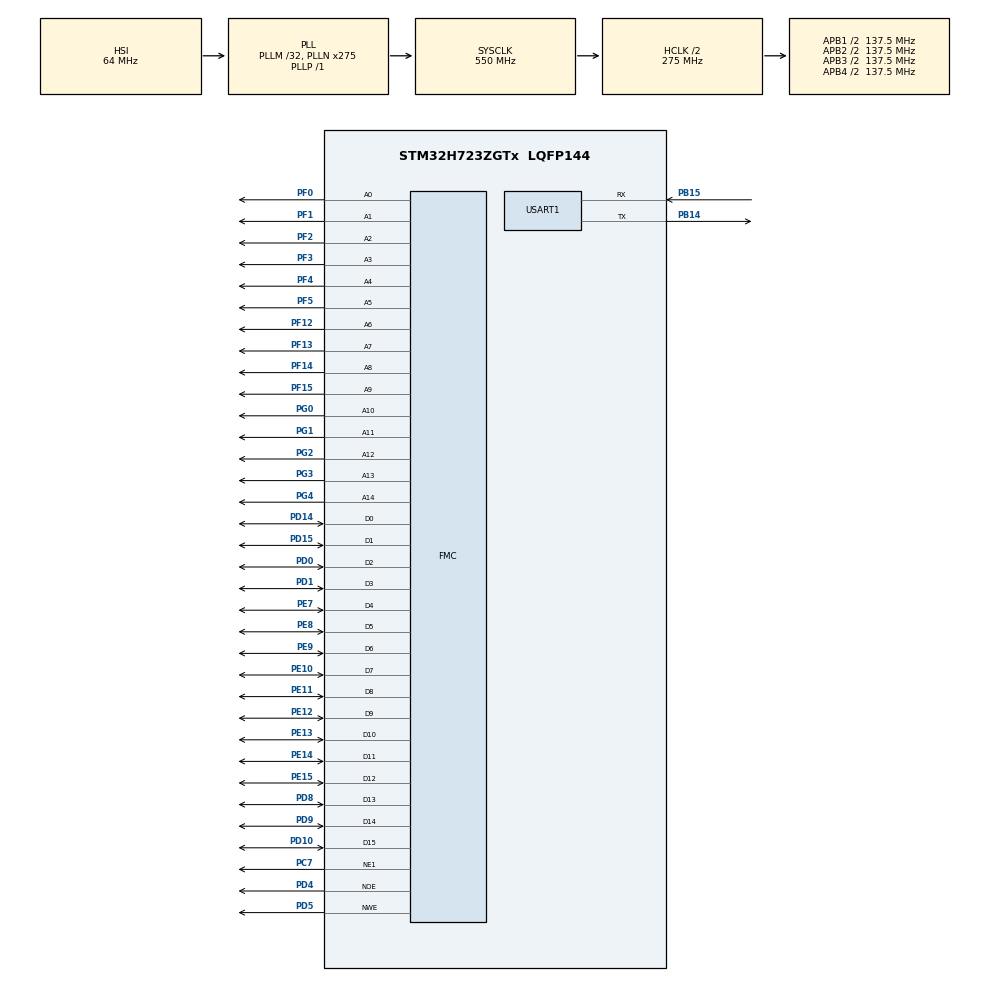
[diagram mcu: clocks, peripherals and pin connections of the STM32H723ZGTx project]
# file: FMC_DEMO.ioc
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CORTEX_M7.AccessPermission_Spec=MPU_REGION_FULL_ACCESS
CORTEX_M7.BaseAddress_Spec=0x60000000
CORTEX_M7.CPU_DCache=Enabled
CORTEX_M7.CPU_ICache=Enabled
CORTEX_M7.MPU_Control=MPU_HFNMI_PRIVDEF
CORTEX_M7.Size_Spec=MPU_REGION_SIZE_256MB
CORTEX_M7.default_mode_Activation=1
FMC.AddressSetupTime1=4
FMC.BusTurnAroundDuration1=2
FMC.DataSetupTime1=3
FMC.WriteFifo1=FMC_WRITE_FIFO_DISABLE
FMC.WriteOperation1=FMC_WRITE_OPERATION_ENABLE
Mcu.Family=STM32H7
Mcu.Name=STM32H723ZGTx
Mcu.Package=LQFP144
Mdma.MDMA_Channel0.Request0=SW
Mdma.MDMA_Channel0.RequestsNb=1
Mdma.MDMA_Channel0.SW.0.BlockCount=0
Mdma.MDMA_Channel0.SW.0.BlockDataLength=0
Mdma.MDMA_Channel0.SW.0.BufferTransferLength=128
Mdma.MDMA_Channel0.SW.0.CircularMode=MDMA_LINEAR_LIST
Mdma.MDMA_Channel0.SW.0.DataAlignment=MDMA_DATAALIGN_PACKENABLE
Mdma.MDMA_Channel0.SW.0.DestBlockAddressOffset=0
Mdma.MDMA_Channel0.SW.0.DestBurst=MDMA_DEST_BURST_8BEATS
Mdma.MDMA_Channel0.SW.0.DestDataSize=MDMA_DEST_DATASIZE_HALFWORD
Mdma.MDMA_Channel0.SW.0.DestinationInc=MDMA_DEST_INC_HALFWORD
Mdma.MDMA_Channel0.SW.0.DstAddress=0
Mdma.MDMA_Channel0.SW.0.Endianness=MDMA_LITTLE_ENDIANNESS_PRESERVE
Mdma.MDMA_Channel0.SW.0.Instance=MDMA_Channel0
Mdma.MDMA_Channel0.SW.0.MaskAddress=0
Mdma.MDMA_Channel0.SW.0.MaskData=0
Mdma.MDMA_Channel0.SW.0.Priority=MDMA_PRIORITY_HIGH
Mdma.MDMA_Channel0.SW.0.Rank=First
Mdma.MDMA_Channel0.SW.0.SourceBlockAddressOffset=0
Mdma.MDMA_Channel0.SW.0.SourceBurst=MDMA_SOURCE_BURST_8BEATS
Mdma.MDMA_Channel0.SW.0.SourceDataSize=MDMA_SRC_DATASIZE_HALFWORD
Mdma.MDMA_Channel0.SW.0.SourceInc=MDMA_SRC_INC_HALFWORD
Mdma.MDMA_Channel0.SW.0.SrcAddress=0
Mdma.MDMA_Channel0.SW.0.TransferTriggerMode=MDMA_BLOCK_TRANSFER
Mdma.RequestSet0=MDMA_Channel0
Mdma.RequestSetsNb=1
NVIC.MDMA_IRQn=true\:0\:0\:false\:false\:true\:false\:true\:true
NVIC.PriorityGroup=NVIC_PRIORITYGROUP_4
NVIC.USART1_IRQn=true\:0\:0\:false\:false\:true\:true\:true\:true
PB14.Mode=Asynchronous
PB14.Signal=USART1_TX
PB15.Mode=Asynchronous
PB15.Signal=USART1_RX
PC7.Mode=NorPsramChipSelect1_1
PC7.Signal=FMC_NE1
PD0.Signal=FMC_D2_DA2
PD1.Signal=FMC_D3_DA3
PD10.Signal=FMC_D15_DA15
PD14.Signal=FMC_D0_DA0
PD15.Signal=FMC_D1_DA1
PD4.Signal=FMC_NOE
PD5.Signal=FMC_NWE
PD8.Signal=FMC_D13_DA13
PD9.Signal=FMC_D14_DA14
PE10.Signal=FMC_D7_DA7
PE11.Signal=FMC_D8_DA8
PE12.Signal=FMC_D9_DA9
PE13.Signal=FMC_D10_DA10
PE14.Signal=FMC_D11_DA11
PE15.Signal=FMC_D12_DA12
PE7.Signal=FMC_D4_DA4
PE8.Signal=FMC_D5_DA5
PE9.Signal=FMC_D6_DA6
PF0.Signal=FMC_A0
PF1.Signal=FMC_A1
PF12.Signal=FMC_A6
PF13.Signal=FMC_A7
PF14.Signal=FMC_A8
PF15.Signal=FMC_A9
PF2.Signal=FMC_A2
PF3.Signal=FMC_A3
PF4.Signal=FMC_A4
PF5.Signal=FMC_A5
PG0.Signal=FMC_A10
PG1.Signal=FMC_A11
PG2.Signal=FMC_A12
PG3.Signal=FMC_A13
PG4.Signal=FMC_A14_BA0
ProjectManager.HeapSize=0x200
ProjectManager.StackSize=0x400
ProjectManager.TargetToolchain=MDK-ARM V5.32
RCC.ADCFreq_Value=129000000
RCC.APB1Freq_Value=137500000
RCC.APB2Freq_Value=137500000
RCC.APB3Freq_Value=137500000
RCC.APB4Freq_Value=137500000
RCC.CortexFreq_Value=68750000
RCC.Cortex_Div=SYSTICK_CLKSOURCE_HCLK_DIV8
RCC.D1PPRE=RCC_APB3_DIV2
RCC.D2PPRE1=RCC_APB1_DIV2
RCC.D2PPRE2=RCC_APB2_DIV2
RCC.D3PPRE=RCC_APB4_DIV2
RCC.DIVN1=275
RCC.DIVP1=1
RCC.DIVQ1=5
RCC.FMCCLockSelection=RCC_FMCCLKSOURCE_PLL
RCC.HCLKFreq_Value=275000000
RCC.HPRE=RCC_HCLK_DIV2
RCC.PLLFRACN=0
RCC.SYSCLKFreq_VALUE=550000000
RCC.SYSCLKSource=RCC_SYSCLKSOURCE_PLLCLK
RCC.USBFreq_Value=110000000
SH.FMC_A0.0=FMC_A0,15b-a1
SH.FMC_A1.0=FMC_A1,15b-a1
SH.FMC_A10.0=FMC_A10,15b-a1
SH.FMC_A11.0=FMC_A11,15b-a1
SH.FMC_A12.0=FMC_A12,15b-a1
SH.FMC_A13.0=FMC_A13,15b-a1
SH.FMC_A14_BA0.0=FMC_A14,15b-a1
SH.FMC_A2.0=FMC_A2,15b-a1
SH.FMC_A3.0=FMC_A3,15b-a1
SH.FMC_A4.0=FMC_A4,15b-a1
SH.FMC_A5.0=FMC_A5,15b-a1
SH.FMC_A6.0=FMC_A6,15b-a1
SH.FMC_A7.0=FMC_A7,15b-a1
SH.FMC_A8.0=FMC_A8,15b-a1
SH.FMC_A9.0=FMC_A9,15b-a1
SH.FMC_D0_DA0.0=FMC_D0,16b-d1
SH.FMC_D10_DA10.0=FMC_D10,16b-d1
SH.FMC_D11_DA11.0=FMC_D11,16b-d1
SH.FMC_D12_DA12.0=FMC_D12,16b-d1
SH.FMC_D13_DA13.0=FMC_D13,16b-d1
SH.FMC_D14_DA14.0=FMC_D14,16b-d1
SH.FMC_D15_DA15.0=FMC_D15,16b-d1
SH.FMC_D1_DA1.0=FMC_D1,16b-d1
SH.FMC_D2_DA2.0=FMC_D2,16b-d1
SH.FMC_D3_DA3.0=FMC_D3,16b-d1
SH.FMC_D4_DA4.0=FMC_D4,16b-d1
SH.FMC_D5_DA5.0=FMC_D5,16b-d1
SH.FMC_D6_DA6.0=FMC_D6,16b-d1
SH.FMC_D7_DA7.0=FMC_D7,16b-d1
SH.FMC_D8_DA8.0=FMC_D8,16b-d1
SH.FMC_D9_DA9.0=FMC_D9,16b-d1
SH.FMC_NOE.0=FMC_NOE,Sram1
SH.FMC_NWE.0=FMC_NWE,Sram1
USART1.VirtualMode-Asynchronous=VM_ASYNC
VP_MEMORYMAP_VS_MEMORYMAP.Mode=CurAppReg
board=custom

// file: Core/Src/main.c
/* USER CODE BEGIN Header */
/**
  ******************************************************************************
  * @file           : main.c
  * @brief          : Main program body
  ******************************************************************************
  * @attention
  *
  * Copyright (c) 2026 STMicroelectronics.
  * All rights reserved.
  *
  * This software is licensed under terms that can be found in the LICENSE file
  * in the root directory of this software component.
  * If no LICENSE file comes with this software, it is provided AS-IS.
  *
  ******************************************************************************
  */
/* USER CODE END Header */
#include "main.h"
#include "mdma.h"
#include "usart.h"
#include "gpio.h"
#include "fmc.h"

/* USER CODE BEGIN Includes */
#include "dds.h"
#include "adc_capture.h"
#include <stdio.h>
#include <string.h>
/* USER CODE END Includes */

void SystemClock_Config(void);
static void MPU_Config(void);

int main(void)
{

  /* MPU Configuration--------------------------------------------------------*/
  MPU_Config();

  /* Enable the CPU Cache */

  /* Enable I-Cache---------------------------------------------------------*/
  SCB_EnableICache();

  /* Enable D-Cache---------------------------------------------------------*/
  SCB_EnableDCache();

  /* MCU Configuration--------------------------------------------------------*/

  /* Reset of all peripherals, Initializes the Flash interface and the Systick. */
  HAL_Init();

  /* Configure the system clock */
  SystemClock_Config();

  /* Initialize all configured peripherals */
  MX_GPIO_Init();
  MX_MDMA_Init();
  MX_FMC_Init();
  MX_USART1_UART_Init();
  /* USER CODE BEGIN 2 */

  /* Startup banner (TX only, no interrupt needed) */
  const char *banner =
      "\r\n\r\n"
      "========================================\r\n"
      "  DDS_AD9740  Arbitrary Waveform Gen\r\n"
      "  UART TX: 115200 8N1  (output only)\r\n"
      "========================================\r\n"
			"!!!!!! MPU_InitStruct.SubRegionDisable = 0x00 !!!!!! \r\n";;
  HAL_UART_Transmit(&huart1, (uint8_t *)banner, strlen(banner), 500);

  /*
   * DDS initialization: generates 1024-point sine LUT,
   * writes to FPGA waveform RAM, sets 1 kHz default, enables DAC.
   */
  HAL_UART_Transmit(&huart1, (uint8_t *)"Init DDS...\r\n", 13, 200);
  DDS_Init();

  /*
   * Register dump: read back FPGA control registers and sample waveform RAM
   * to verify FMC communication and DDS configuration.
   */
  {
    char buf[80];
    uint16_t val;
    int i;

    /* --- Control Registers --- */
    HAL_UART_Transmit(&huart1, (uint8_t *)"\r\n--- Control Registers ---\r\n", 27, 200);

    val = FPGA[FTW_ADDR_LO];
    sprintf(buf, "FTW_LO    (0x0400) = 0x%04X (%u)\r\n", val, val);
    HAL_UART_Transmit(&huart1, (uint8_t *)buf, strlen(buf), 100);

    val = FPGA[FTW_ADDR_HI];
    sprintf(buf, "FTW_HI    (0x0401) = 0x%04X (%u)\r\n", val, val);
    HAL_UART_Transmit(&huart1, (uint8_t *)buf, strlen(buf), 100);

    val = FPGA[DAC_CTRL_ADDR];
    sprintf(buf, "DAC_CTRL  (0x040C) = 0x%04X (%s)\r\n", val,
            (val & 0x01) ? "ENABLED" : "DISABLED");
    HAL_UART_Transmit(&huart1, (uint8_t *)buf, strlen(buf), 100);

    /* --- Waveform RAM (first 16 of 1024) --- */
    HAL_UART_Transmit(&huart1, (uint8_t *)"\r\n--- Waveform RAM [0..15] / 1024 ---\r\n", 44, 200);

    for (i = 0; i <1024 ; i = i + 5)
    {
      val = FPGA[WAVEFORM_RAM_BASE + i];
      sprintf(buf, "  RAM : %4u\r\n",  val & 0x03FF);
      HAL_UART_Transmit(&huart1, (uint8_t *)buf, strlen(buf), 100);
			HAL_Delay(1);
    }

    HAL_UART_Transmit(&huart1, (uint8_t *)"--- End of Register Dump ---\r\n\r\n", 31, 200);
  }

  {
    char buf[96];
    uint16_t adc_id;
    uint16_t adc_status;
    uint16_t actual_count;
    uint16_t read_count;
    const uint16_t demo_points = 1024;
    int i;

    HAL_UART_Transmit(&huart1, (uint8_t *)"\r\nInit AD9220 capture...\r\n", 25, 200);

    adc_id = ADC_CaptureReadId();
    sprintf(buf, "ADC_ID    (0x1FF4) = 0x%04X\r\n", adc_id);
    HAL_UART_Transmit(&huart1, (uint8_t *)buf, strlen(buf), 100);

    if (adc_id != ADC_CAPTURE_ID_VALUE) {
      HAL_UART_Transmit(&huart1,
                        (uint8_t *)"ADC logic not detected; check FPGA bitstream.\r\n",
                        strlen("ADC logic not detected; check FPGA bitstream.\r\n"),
                        200);
    } else if (ADC_CaptureStart(demo_points) != HAL_OK) {
      HAL_UART_Transmit(&huart1,
                        (uint8_t *)"ADC start failed.\r\n",
                        strlen("ADC start failed.\r\n"),
                        200);
    } else if (ADC_CaptureWaitDone(100) != HAL_OK) {
      adc_status = ADC_CaptureReadStatus();
      sprintf(buf, "ADC wait failed, status=0x%04X\r\n", adc_status);
      HAL_UART_Transmit(&huart1, (uint8_t *)buf, strlen(buf), 200);
      (void)ADC_CaptureStop();
    } else {
      actual_count = ADC_CaptureReadActualCount();
      read_count = (actual_count > demo_points) ? demo_points : actual_count;

      sprintf(buf, "ADC actual count = %u\r\n", actual_count);
      HAL_UART_Transmit(&huart1, (uint8_t *)buf, strlen(buf), 100);

      if (ADC_CaptureReadMDMA(adc_capture_buffer, read_count, 1000) != HAL_OK) {
        HAL_UART_Transmit(&huart1,
                          (uint8_t *)"ADC MDMA read failed.\r\n",
                          strlen("ADC MDMA read failed.\r\n"),
                          200);
      } else {
        HAL_UART_Transmit(&huart1,
                          (uint8_t *)"ADC samples [0..15]:\r\n",
                          strlen("ADC samples [0..15]:\r\n"),
                          200);
        for (i = 0; i < read_count; i = i + 5) {
          sprintf(buf, "  ADC[%04d] : %4u\r\n",
                  i,
                  adc_capture_buffer[i] & 0x0FFFU);
          HAL_UART_Transmit(&huart1, (uint8_t *)buf, strlen(buf), 100);
        }
      }
    }
  }

  /* USER CODE END 2 */

  /* Infinite loop */
  /* USER CODE BEGIN WHILE */
  while (1)
  {
    /*
     * DDS runs autonomously on FPGA.  STM32 just idles.
     * USART TX is available for debug output via HAL_UART_Transmit().
     * USART RX interrupt is disabled (no HAL_UART_Receive_IT).
     */
    HAL_Delay(1000);

    /* USER CODE END WHILE */

  }
}

void SystemClock_Config(void)
{
  RCC_OscInitTypeDef RCC_OscInitStruct = {0};
  RCC_ClkInitTypeDef RCC_ClkInitStruct = {0};

  /** Supply configuration update enable
  */
  HAL_PWREx_ConfigSupply(PWR_LDO_SUPPLY);

  /** Configure the main internal regulator output voltage
  */
  __HAL_PWR_VOLTAGESCALING_CONFIG(PWR_REGULATOR_VOLTAGE_SCALE0);

  while(!__HAL_PWR_GET_FLAG(PWR_FLAG_VOSRDY)) {}

  /** Initializes the RCC Oscillators according to the specified parameters
  * in the RCC_OscInitTypeDef structure.
  */
  RCC_OscInitStruct.OscillatorType = RCC_OSCILLATORTYPE_HSI;
  RCC_OscInitStruct.HSIState = RCC_HSI_DIV1;
  RCC_OscInitStruct.HSICalibrationValue = 64;
  RCC_OscInitStruct.PLL.PLLState = RCC_PLL_ON;
  RCC_OscInitStruct.PLL.PLLSource = RCC_PLLSOURCE_HSI;
  RCC_OscInitStruct.PLL.PLLM = 32;
  RCC_OscInitStruct.PLL.PLLN = 275;
  RCC_OscInitStruct.PLL.PLLP = 1;
  RCC_OscInitStruct.PLL.PLLQ = 5;
  RCC_OscInitStruct.PLL.PLLR = 2;
  RCC_OscInitStruct.PLL.PLLRGE = RCC_PLL1VCIRANGE_1;
  RCC_OscInitStruct.PLL.PLLVCOSEL = RCC_PLL1VCOWIDE;
  RCC_OscInitStruct.PLL.PLLFRACN = 0;
  if (HAL_RCC_OscConfig(&RCC_OscInitStruct) != HAL_OK)
  {
    Error_Handler();
  }

  /** Initializes the CPU, AHB and APB buses clocks
  */
  RCC_ClkInitStruct.ClockType = RCC_CLOCKTYPE_HCLK|RCC_CLOCKTYPE_SYSCLK
                              |RCC_CLOCKTYPE_PCLK1|RCC_CLOCKTYPE_PCLK2
                              |RCC_CLOCKTYPE_D3PCLK1|RCC_CLOCKTYPE_D1PCLK1;
  RCC_ClkInitStruct.SYSCLKSource = RCC_SYSCLKSOURCE_PLLCLK;
  RCC_ClkInitStruct.SYSCLKDivider = RCC_SYSCLK_DIV1;
  RCC_ClkInitStruct.AHBCLKDivider = RCC_HCLK_DIV2;
  RCC_ClkInitStruct.APB3CLKDivider = RCC_APB3_DIV2;
  RCC_ClkInitStruct.APB1CLKDivider = RCC_APB1_DIV2;
  RCC_ClkInitStruct.APB2CLKDivider = RCC_APB2_DIV2;
  RCC_ClkInitStruct.APB4CLKDivider = RCC_APB4_DIV2;

  if (HAL_RCC_ClockConfig(&RCC_ClkInitStruct, FLASH_LATENCY_3) != HAL_OK)
  {
    Error_Handler();
  }
}

 /* MPU Configuration */

void MPU_Config(void)
{
  MPU_Region_InitTypeDef MPU_InitStruct = {0};

  /* Disables the MPU */
  HAL_MPU_Disable();

  /** Initializes and configures the Region and the memory to be protected
  */
  MPU_InitStruct.Enable = MPU_REGION_ENABLE;
  MPU_InitStruct.Number = MPU_REGION_NUMBER0;
  MPU_InitStruct.BaseAddress = 0x60000000;
  MPU_InitStruct.Size = MPU_REGION_SIZE_256MB;
  MPU_InitStruct.SubRegionDisable = 0x00;
  MPU_InitStruct.TypeExtField = MPU_TEX_LEVEL0;
  MPU_InitStruct.AccessPermission = MPU_REGION_FULL_ACCESS;
  MPU_InitStruct.DisableExec = MPU_INSTRUCTION_ACCESS_DISABLE;
  MPU_InitStruct.IsShareable = MPU_ACCESS_SHAREABLE;
  MPU_InitStruct.IsCacheable = MPU_ACCESS_NOT_CACHEABLE;
  MPU_InitStruct.IsBufferable = MPU_ACCESS_NOT_BUFFERABLE;

  HAL_MPU_ConfigRegion(&MPU_InitStruct);
  /* Enables the MPU */
  HAL_MPU_Enable(MPU_HFNMI_PRIVDEF);

}

void Error_Handler(void)
{
  __disable_irq();
  while (1)
  {
  }
}
